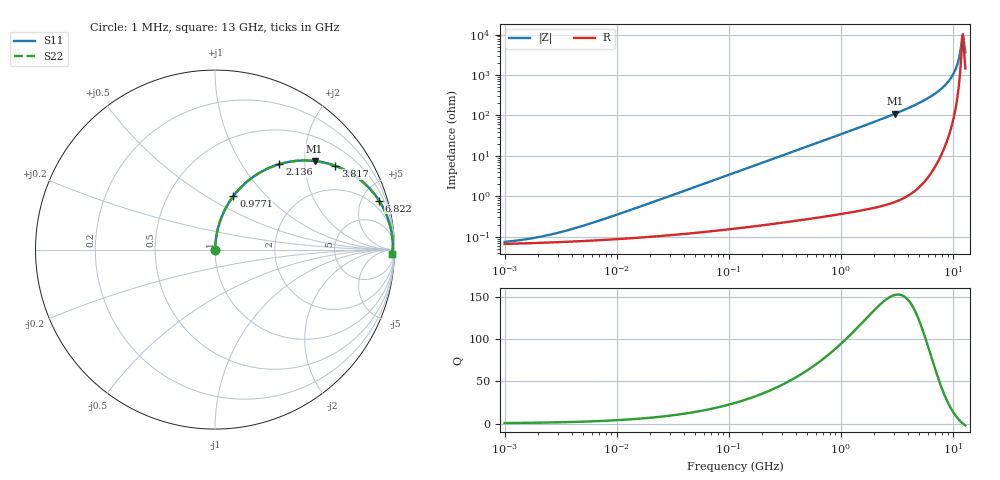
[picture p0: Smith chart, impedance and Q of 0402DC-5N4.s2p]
# MHz  S  MA  R  50
!Freq  MagS11  AngS11  MagS21  AngS21  MagS12  AngS12  MagS22  AngS22
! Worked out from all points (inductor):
!   801 points, 1 MHz to 13 GHz, reference 50 ohm
!   read as one part in series: L = 5.4 nH near 7.408 MHz
!   highest Q = 152 at 3.084 GHz (marker M1), where L = 5.76 nH
!   self-resonance near 12.19 GHz
!   S11 on the Smith chart (normalised r, x): 1 MHz: 1.00, +0.00; 977.1 MHz: 1.01, +0.67; 2.136 GHz: 1.01, +1.49; 3.817 GHz: 1.02, +2.86; 6.822 GHz: 1.10, +6.67; 13 GHz: 30, -67
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1  0.0007465 27.0  0.9993 -0.0  0.9993 -0.0  0.0007465 27.0
2.160238  0.00102 45.9  0.9993 -0.0  0.9993 -0.0  0.00102 45.9
4.893145  0.001833 64.7  0.9992 -0.1  0.9992 -0.1  0.001833 64.7
23.66083  0.008086 82.2  0.9989 -0.5  0.9989 -0.5  0.008086 82.2
114.4121  0.03876 85.4  0.9977 -2.2  0.9977 -2.2  0.03876 85.4
553.2402  0.1844 78.5  0.9801 -10.6  0.9801 -10.6  0.1844 78.5
977.0805  0.3155 71.0  0.9455 -18.4  0.9455 -18.4  0.3155 71.0
1461.842  0.4479 62.9  0.8902 -26.6  0.8902 -26.6  0.4479 62.9
2135.887  0.5965 53.0  0.7983 -36.6  0.7983 -36.6  0.5965 53.0
2707.084  0.6921 45.8  0.7172 -43.8  0.7172 -43.8  0.6921 45.8
3083.967  0.7424 41.7  0.6651 -47.9  0.6651 -47.9  0.7424 41.7
3817.165  0.8174 34.8  0.5706 -54.8  0.5706 -54.8  0.8174 34.8
5256.393  0.9059 24.6  0.4156 -64.9  0.4156 -64.9  0.9059 24.6
6821.875  0.9541 16.6  0.286 -72.5  0.286 -72.5  0.9541 16.6
8544.392  0.9791 10.1  0.1756 -78.1  0.1756 -78.1  0.9791 10.1
10086.2  0.9885 5.5  0.09585 -80.3  0.09585 -80.3  0.9885 5.5
11089.12  0.9906 2.9  0.05106 -77.9  0.05106 -77.9  0.9906 2.9
11906.23  0.9906 1.0  0.01908 -60.1  0.01908 -60.1  0.9906 1.0
12191.76  0.9904 0.3  0.01107 -29.4  0.01107 -29.4  0.9904 0.3
12632.96  0.9897 -0.6  0.01525 47.2  0.01525 47.2  0.9897 -0.6
12935.92  0.9891 -1.3  0.02489 63.3  0.02489 63.3  0.9891 -1.3
13000  0.9889 -1.4  0.02705 65.1  0.02705 65.1  0.9889 -1.4
